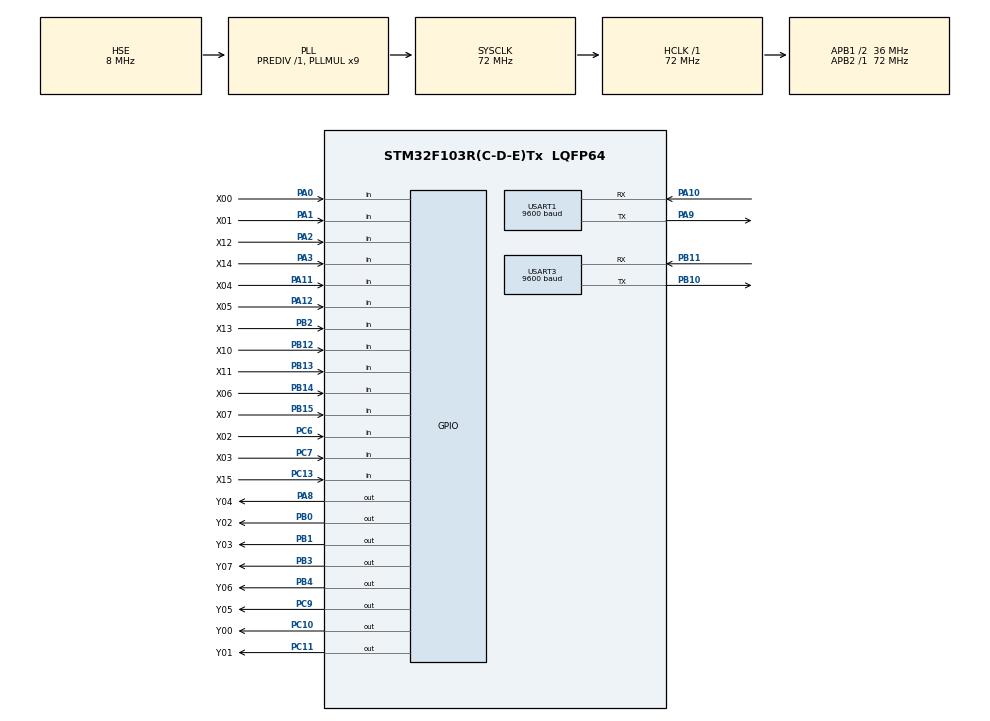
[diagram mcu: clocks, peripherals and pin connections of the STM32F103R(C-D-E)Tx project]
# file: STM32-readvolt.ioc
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FREERTOS.Tasks01=defaultTask,24,64,StartDefaultTask,Default,NULL,Dynamic,NULL,NULL;readvolt,24,64,StartReadVolt,Default,NULL,Dynamic,NULL,NULL;readinput,24,64,StartReadInput,Default,NULL,Dynamic,NULL,NULL
FREERTOS.configMINIMAL_STACK_SIZE=64
FREERTOS.configTIMER_TASK_STACK_DEPTH=64
Mcu.Family=STM32F1
Mcu.Name=STM32F103R(C-D-E)Tx
Mcu.Package=LQFP64
NVIC.PriorityGroup=NVIC_PRIORITYGROUP_4
NVIC.TIM4_IRQn=true\:15\:0\:false\:false\:true\:false\:false\:true\:true
NVIC.TimeBase=TIM4_IRQn
NVIC.TimeBaseIP=TIM4
NVIC.USART1_IRQn=true\:5\:0\:false\:false\:true\:true\:true\:true\:true
NVIC.USART3_IRQn=true\:5\:0\:false\:false\:true\:true\:true\:true\:true
PA0-WKUP.GPIO_Label=X00
PA0-WKUP.Signal=GPIO_Input
PA1.GPIO_Label=X01
PA1.Signal=GPIO_Input
PA10.Mode=Asynchronous
PA10.Signal=USART1_RX
PA11.GPIO_Label=X04
PA11.Signal=GPIO_Input
PA12.GPIO_Label=X05
PA12.Signal=GPIO_Input
PA13.Mode=Serial_Wire
PA13.Signal=SYS_JTMS-SWDIO
PA14.Mode=Serial_Wire
PA14.Signal=SYS_JTCK-SWCLK
PA2.GPIO_Label=X12
PA2.Signal=GPIO_Input
PA3.GPIO_Label=X14
PA3.Signal=GPIO_Input
PA8.GPIO_Label=Y04
PA8.Signal=GPIO_Output
PA9.Mode=Asynchronous
PA9.Signal=USART1_TX
PB0.GPIO_Label=Y02
PB0.Signal=GPIO_Output
PB1.GPIO_Label=Y03
PB1.Signal=GPIO_Output
PB10.Mode=Asynchronous
PB10.Signal=USART3_TX
PB11.Mode=Asynchronous
PB11.Signal=USART3_RX
PB12.GPIO_Label=X10
PB12.Signal=GPIO_Input
PB13.GPIO_Label=X11
PB13.Signal=GPIO_Input
PB14.GPIO_Label=X06
PB14.Signal=GPIO_Input
PB15.GPIO_Label=X07
PB15.Signal=GPIO_Input
PB2.GPIO_Label=X13
PB2.Signal=GPIO_Input
PB3.GPIO_Label=Y07
PB3.Signal=GPIO_Output
PB4.GPIO_Label=Y06
PB4.Signal=GPIO_Output
PC10.GPIO_Label=Y00
PC10.Signal=GPIO_Output
PC11.GPIO_Label=Y01
PC11.Signal=GPIO_Output
PC13-TAMPER-RTC.GPIO_Label=X15
PC13-TAMPER-RTC.Signal=GPIO_Input
PC6.GPIO_Label=X02
PC6.Signal=GPIO_Input
PC7.GPIO_Label=X03
PC7.Signal=GPIO_Input
PC9.GPIO_Label=Y05
PC9.Signal=GPIO_Output
PD0-OSC_IN.Mode=HSE-External-Oscillator
PD0-OSC_IN.Signal=RCC_OSC_IN
PD1-OSC_OUT.Mode=HSE-External-Oscillator
PD1-OSC_OUT.Signal=RCC_OSC_OUT
ProjectManager.HeapSize=0x200
ProjectManager.StackSize=0x400
ProjectManager.TargetToolchain=STM32CubeIDE
RCC.AHBFreq_Value=72000000
RCC.APB1CLKDivider=RCC_HCLK_DIV2
RCC.APB1Freq_Value=36000000
RCC.APB1TimFreq_Value=72000000
RCC.APB2Freq_Value=72000000
RCC.APB2TimFreq_Value=72000000
RCC.HCLKFreq_Value=72000000
RCC.PLLMUL=RCC_PLL_MUL9
RCC.PLLSourceVirtual=RCC_PLLSOURCE_HSE
RCC.SYSCLKFreq_VALUE=72000000
RCC.SYSCLKSource=RCC_SYSCLKSOURCE_PLLCLK
RCC.USBFreq_Value=72000000
USART1.BaudRate=9600
USART1.VirtualMode=VM_ASYNC
USART3.BaudRate=9600
USART3.VirtualMode=VM_ASYNC
VP_FREERTOS_VS_CMSIS_V2.Mode=CMSIS_V2
VP_SYS_VS_tim4.Mode=TIM4
board=custom

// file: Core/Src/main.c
/* USER CODE BEGIN Header */
/**
  ******************************************************************************
  * @file           : main.c
  * @brief          : Main program body
  ******************************************************************************
  * @attention
  *
  * Copyright (c) 2024 STMicroelectronics.
  * All rights reserved.
  *
  * This software is licensed under terms that can be found in the LICENSE file
  * in the root directory of this software component.
  * If no LICENSE file comes with this software, it is provided AS-IS.
  *
  ******************************************************************************
  */
/* USER CODE END Header */
#include "main.h"
#include "cmsis_os.h"

/* USER CODE BEGIN Includes */
#include "Modbus.h"
/* USER CODE END Includes */

/* USER CODE BEGIN PD */
typedef enum{
	autoSwitch,
	manualSwitch
}Switch_status;
typedef enum{
	led_red,
	led_orange,
	led_green
}Led_type;
Led_type status_led=led_green;
typedef enum{
	ProgramRunning,
	ProgramStop

}EMG_status;
EMG_status status=ProgramRunning;
/* USER CODE END PD */

/* USER CODE BEGIN PM */
modbus_t telegram;
/* USER CODE END PM */

UART_HandleTypeDef huart1;
UART_HandleTypeDef huart3;

/* Definitions for defaultTask */
osThreadId_t defaultTaskHandle;
const osThreadAttr_t defaultTask_attributes = {
  .name = "defaultTask",
  .stack_size = 64 * 4,
  .priority = (osPriority_t) osPriorityNormal,
};
/* Definitions for readvolt */
osThreadId_t readvoltHandle;
const osThreadAttr_t readvolt_attributes = {
  .name = "readvolt",
  .stack_size = 64 * 4,
  .priority = (osPriority_t) osPriorityNormal,
};
/* Definitions for readinput */
osThreadId_t readinputHandle;
const osThreadAttr_t readinput_attributes = {
  .name = "readinput",
  .stack_size = 64 * 4,
  .priority = (osPriority_t) osPriorityNormal,
};
/* USER CODE BEGIN PV */
modbusHandler_t ModbusH;
uint16_t ModbusDATA[8];
modbusHandler_t ModbusH2;
uint16_t ModbusDATA2[8];
/* USER CODE END PV */

void SystemClock_Config(void);
static void MX_GPIO_Init(void);
static void MX_USART3_UART_Init(void);
static void MX_USART1_UART_Init(void);
void StartDefaultTask(void *argument);
void StartReadVolt(void *argument);
void StartReadInput(void *argument);

/* USER CODE BEGIN 0 */
void Program_main(Switch_status status)
{
	if(status==autoSwitch)
	{
		if(ModbusH.u16regs[0]<2200){
			HAL_GPIO_WritePin(Y00_GPIO_Port, Y00_Pin, GPIO_PIN_SET);
			status_led=led_orange;
		}
		if(ModbusH.u16regs[0]>2800){
			HAL_GPIO_WritePin(Y00_GPIO_Port, Y00_Pin, GPIO_PIN_RESET);
			status_led=led_green;
		}

	}
	if(status==manualSwitch){
		HAL_GPIO_WritePin(Y00_GPIO_Port, Y00_Pin, GPIO_PIN_SET);
		status_led=led_orange;
	}
}
void Program_Running()
{
//	if(HAL_GPIO_ReadPin(X02_GPIO_Port, X02_Pin)==0)
	if(ModbusH2.u16regs[0]==1)
	{
		Program_main(autoSwitch);
	}
//	if(HAL_GPIO_ReadPin(X03_GPIO_Port, X03_Pin)==0)
	if(ModbusH2.u16regs[1]==1)
	{
		Program_main(manualSwitch);
	}
//	if(HAL_GPIO_ReadPin(X02_GPIO_Port, X02_Pin)==1&&HAL_GPIO_ReadPin(X03_GPIO_Port, X03_Pin)==1)
//	{
//		HAL_GPIO_WritePin(Y00_GPIO_Port, Y00_Pin, GPIO_PIN_RESET);
//	}
}
void Program_Stop()
{
	HAL_GPIO_WritePin(Y00_GPIO_Port, Y00_Pin, GPIO_PIN_RESET);
}
/* USER CODE END 0 */

int main(void)
{

  /* MCU Configuration--------------------------------------------------------*/

  /* Reset of all peripherals, Initializes the Flash interface and the Systick. */
  HAL_Init();

  /* Configure the system clock */
  SystemClock_Config();

  /* Initialize all configured peripherals */
  MX_GPIO_Init();
  MX_USART3_UART_Init();
  MX_USART1_UART_Init();
  /* USER CODE BEGIN 2 */

  /* Master initialization */
  ModbusH.uModbusType = MB_MASTER;
    ModbusH.port =  &huart3;
    ModbusH.u8id = 0; // For master it must be 0
    ModbusH.u16timeOut = 1000;
    ModbusH.EN_Port = NULL;
//    ModbusH.EN_Port = EN_485_GPIO_Port;
//    ModbusH.EN_Pin = EN_485_Pin;
    ModbusH.u16regs = ModbusDATA;
    ModbusH.u16regsize= sizeof(ModbusDATA)/sizeof(ModbusDATA[0]);
    ModbusH.xTypeHW = USART_HW;
    //Initialize Modbus library
    ModbusInit(&ModbusH);
    //Start capturing traffic on serial Port
    ModbusStart(&ModbusH);

    /* Slave initialization */
    ModbusH2.uModbusType = MB_SLAVE;
      ModbusH2.port =  &huart1;
      ModbusH2.u8id = 1;
      ModbusH2.u16timeOut = 1000;
      ModbusH2.EN_Port = NULL;
      //ModbusH2.EN_Port = LD2_GPIO_Port;
      //ModbusH2.EN_Pin = LD2_Pin;
      ModbusH2.u16regs = ModbusDATA2;
      ModbusH2.u16regsize= sizeof(ModbusDATA2)/sizeof(ModbusDATA2[0]);
      //Initialize Modbus library
      ModbusH2.xTypeHW = USART_HW;
      ModbusInit(&ModbusH2);
      //Start capturing traffic on serial Port
      ModbusStart(&ModbusH2);

  /* USER CODE END 2 */

  /* Init scheduler */
  osKernelInitialize();

  /* Create the thread(s) */
  /* creation of defaultTask */
  defaultTaskHandle = osThreadNew(StartDefaultTask, NULL, &defaultTask_attributes);

  /* creation of readvolt */
  readvoltHandle = osThreadNew(StartReadVolt, NULL, &readvolt_attributes);

  /* creation of readinput */
  readinputHandle = osThreadNew(StartReadInput, NULL, &readinput_attributes);

  /* Start scheduler */
  osKernelStart();

  /* We should never get here as control is now taken by the scheduler */

  /* Infinite loop */
  while (1)
  {

  }
}

void SystemClock_Config(void)
{
  RCC_OscInitTypeDef RCC_OscInitStruct = {0};
  RCC_ClkInitTypeDef RCC_ClkInitStruct = {0};

  /** Initializes the RCC Oscillators according to the specified parameters
  * in the RCC_OscInitTypeDef structure.
  */
  RCC_OscInitStruct.OscillatorType = RCC_OSCILLATORTYPE_HSE;
  RCC_OscInitStruct.HSEState = RCC_HSE_ON;
  RCC_OscInitStruct.HSEPredivValue = RCC_HSE_PREDIV_DIV1;
  RCC_OscInitStruct.HSIState = RCC_HSI_ON;
  RCC_OscInitStruct.PLL.PLLState = RCC_PLL_ON;
  RCC_OscInitStruct.PLL.PLLSource = RCC_PLLSOURCE_HSE;
  RCC_OscInitStruct.PLL.PLLMUL = RCC_PLL_MUL9;
  if (HAL_RCC_OscConfig(&RCC_OscInitStruct) != HAL_OK)
  {
    Error_Handler();
  }

  /** Initializes the CPU, AHB and APB buses clocks
  */
  RCC_ClkInitStruct.ClockType = RCC_CLOCKTYPE_HCLK|RCC_CLOCKTYPE_SYSCLK
                              |RCC_CLOCKTYPE_PCLK1|RCC_CLOCKTYPE_PCLK2;
  RCC_ClkInitStruct.SYSCLKSource = RCC_SYSCLKSOURCE_PLLCLK;
  RCC_ClkInitStruct.AHBCLKDivider = RCC_SYSCLK_DIV1;
  RCC_ClkInitStruct.APB1CLKDivider = RCC_HCLK_DIV2;
  RCC_ClkInitStruct.APB2CLKDivider = RCC_HCLK_DIV1;

  if (HAL_RCC_ClockConfig(&RCC_ClkInitStruct, FLASH_LATENCY_2) != HAL_OK)
  {
    Error_Handler();
  }
}

static void MX_USART1_UART_Init(void)
{

  huart1.Instance = USART1;
  huart1.Init.BaudRate = 9600;
  huart1.Init.WordLength = UART_WORDLENGTH_8B;
  huart1.Init.StopBits = UART_STOPBITS_1;
  huart1.Init.Parity = UART_PARITY_NONE;
  huart1.Init.Mode = UART_MODE_TX_RX;
  huart1.Init.HwFlowCtl = UART_HWCONTROL_NONE;
  huart1.Init.OverSampling = UART_OVERSAMPLING_16;
  if (HAL_UART_Init(&huart1) != HAL_OK)
  {
    Error_Handler();
  }

}

static void MX_USART3_UART_Init(void)
{

  huart3.Instance = USART3;
  huart3.Init.BaudRate = 9600;
  huart3.Init.WordLength = UART_WORDLENGTH_8B;
  huart3.Init.StopBits = UART_STOPBITS_1;
  huart3.Init.Parity = UART_PARITY_NONE;
  huart3.Init.Mode = UART_MODE_TX_RX;
  huart3.Init.HwFlowCtl = UART_HWCONTROL_NONE;
  huart3.Init.OverSampling = UART_OVERSAMPLING_16;
  if (HAL_UART_Init(&huart3) != HAL_OK)
  {
    Error_Handler();
  }

}

static void MX_GPIO_Init(void)
{
  GPIO_InitTypeDef GPIO_InitStruct = {0};

  /* GPIO Ports Clock Enable */
  __HAL_RCC_GPIOC_CLK_ENABLE();
  __HAL_RCC_GPIOD_CLK_ENABLE();
  __HAL_RCC_GPIOA_CLK_ENABLE();
  __HAL_RCC_GPIOB_CLK_ENABLE();

  /*Configure GPIO pin Output Level */
  HAL_GPIO_WritePin(GPIOB, Y02_Pin|Y03_Pin|Y07_Pin|Y06_Pin, GPIO_PIN_RESET);

  /*Configure GPIO pin Output Level */
  HAL_GPIO_WritePin(GPIOC, Y05_Pin|Y00_Pin|Y01_Pin, GPIO_PIN_RESET);

  /*Configure GPIO pin Output Level */
  HAL_GPIO_WritePin(Y04_GPIO_Port, Y04_Pin, GPIO_PIN_RESET);

  /*Configure GPIO pins : X15_Pin X02_Pin X03_Pin */
  GPIO_InitStruct.Pin = X15_Pin|X02_Pin|X03_Pin;
  GPIO_InitStruct.Mode = GPIO_MODE_INPUT;
  GPIO_InitStruct.Pull = GPIO_NOPULL;
  HAL_GPIO_Init(GPIOC, &GPIO_InitStruct);

  /*Configure GPIO pins : X00_Pin X01_Pin X12_Pin X14_Pin
                           X04_Pin X05_Pin */
  GPIO_InitStruct.Pin = X00_Pin|X01_Pin|X12_Pin|X14_Pin
                          |X04_Pin|X05_Pin;
  GPIO_InitStruct.Mode = GPIO_MODE_INPUT;
  GPIO_InitStruct.Pull = GPIO_NOPULL;
  HAL_GPIO_Init(GPIOA, &GPIO_InitStruct);

  /*Configure GPIO pins : Y02_Pin Y03_Pin Y07_Pin Y06_Pin */
  GPIO_InitStruct.Pin = Y02_Pin|Y03_Pin|Y07_Pin|Y06_Pin;
  GPIO_InitStruct.Mode = GPIO_MODE_OUTPUT_PP;
  GPIO_InitStruct.Pull = GPIO_NOPULL;
  GPIO_InitStruct.Speed = GPIO_SPEED_FREQ_LOW;
  HAL_GPIO_Init(GPIOB, &GPIO_InitStruct);

  /*Configure GPIO pins : X13_Pin X10_Pin X11_Pin X06_Pin
                           X07_Pin */
  GPIO_InitStruct.Pin = X13_Pin|X10_Pin|X11_Pin|X06_Pin
                          |X07_Pin;
  GPIO_InitStruct.Mode = GPIO_MODE_INPUT;
  GPIO_InitStruct.Pull = GPIO_NOPULL;
  HAL_GPIO_Init(GPIOB, &GPIO_InitStruct);

  /*Configure GPIO pins : Y05_Pin Y00_Pin Y01_Pin */
  GPIO_InitStruct.Pin = Y05_Pin|Y00_Pin|Y01_Pin;
  GPIO_InitStruct.Mode = GPIO_MODE_OUTPUT_PP;
  GPIO_InitStruct.Pull = GPIO_NOPULL;
  GPIO_InitStruct.Speed = GPIO_SPEED_FREQ_LOW;
  HAL_GPIO_Init(GPIOC, &GPIO_InitStruct);

  /*Configure GPIO pin : Y04_Pin */
  GPIO_InitStruct.Pin = Y04_Pin;
  GPIO_InitStruct.Mode = GPIO_MODE_OUTPUT_PP;
  GPIO_InitStruct.Pull = GPIO_NOPULL;
  GPIO_InitStruct.Speed = GPIO_SPEED_FREQ_LOW;
  HAL_GPIO_Init(Y04_GPIO_Port, &GPIO_InitStruct);

}

void StartDefaultTask(void *argument)
{
  /* USER CODE BEGIN 5 */
  /* Infinite loop */
  for(;;)
  {

	  if(status==ProgramRunning){
			  Program_Running();
	  }
	  else{
		  Program_Stop();
		  status_led=led_red;
	  }
    osDelay(100);
  }
  /* USER CODE END 5 */
}

void StartReadVolt(void *argument)
{
  /* USER CODE BEGIN StartReadVolt */
  /* Infinite loop */
  for(;;)
  {
	  uint32_t u32NotificationValue;
	  	    telegram.u8id = 1; // slave address
	  	    telegram.u8fct = 4; // function code (this one is registers read)
	  	    //telegram[0].u16RegAdd = 0x160; // start address in slave
	  	    telegram.u16RegAdd = 0x0; // start address in slave
	  	    telegram.u16CoilsNo = 8; // number of elements (coils or registers) to read
	  	    telegram.u16reg = ModbusDATA; // pointer to a memory array in the Arduino

	  	    int aux;

	  	    for(;;)
	  	    {
	  	  	  ModbusQuery(&ModbusH, telegram); // make a query
	  	  	  u32NotificationValue = ulTaskNotifyTake(pdTRUE, portMAX_DELAY); // block until query finishes
	  	  	  if(u32NotificationValue != ERR_OK_QUERY)
	  	  	  {
	  	  		//handle error
	  	  		//  while(1);
	  	  		  aux =1;
	  	  	  }
	  	  	  uint16_t Volt_battery  = ModbusH.u16regs[0];
	  	  	  uint16_t Current_battery = ModbusH.u16regs[1];
	  	  	  ModbusH2.u16regs[3]=Volt_battery;

	  	    }
    osDelay(100);
  }
  /* USER CODE END StartReadVolt */
}

void StartReadInput(void *argument)
{
  /* USER CODE BEGIN StartReadInput */
  /* Infinite loop */
  for(;;)
  {
//	  if(HAL_GPIO_ReadPin(X00_GPIO_Port, X00_Pin)==0)
	  if(ModbusH2.u16regs[2]==1)
	  {
		  if(status==ProgramRunning)
		  {
			  status=ProgramStop;
		  }

	  }
	  if(HAL_GPIO_ReadPin(X00_GPIO_Port, X00_Pin)==1&&HAL_GPIO_ReadPin(X01_GPIO_Port, X01_Pin)==0)
	  {
		  if(status==ProgramStop)
		  {
			  status=ProgramRunning;

		  }
	  }
	  switch (status_led) {
		case led_green:
			HAL_GPIO_WritePin(Y02_GPIO_Port, Y02_Pin, GPIO_PIN_SET);
			HAL_GPIO_WritePin(Y03_GPIO_Port, Y03_Pin, GPIO_PIN_RESET);
			HAL_GPIO_WritePin(Y04_GPIO_Port, Y04_Pin, GPIO_PIN_RESET);
			break;
		case led_orange:
			HAL_GPIO_WritePin(Y02_GPIO_Port, Y02_Pin, GPIO_PIN_RESET);
			HAL_GPIO_WritePin(Y03_GPIO_Port, Y03_Pin, GPIO_PIN_SET);
			HAL_GPIO_WritePin(Y04_GPIO_Port, Y04_Pin, GPIO_PIN_RESET);
			break;
		case led_red:
			HAL_GPIO_WritePin(Y02_GPIO_Port, Y02_Pin, GPIO_PIN_RESET);
			HAL_GPIO_WritePin(Y03_GPIO_Port, Y03_Pin, GPIO_PIN_RESET);
			HAL_GPIO_WritePin(Y04_GPIO_Port, Y04_Pin, GPIO_PIN_SET);
			break;
		default:
			break;
	}
    osDelay(100);
  }
  /* USER CODE END StartReadInput */
}

void HAL_TIM_PeriodElapsedCallback(TIM_HandleTypeDef *htim)
{
  if (htim->Instance == TIM4) {
    HAL_IncTick();
  }
}

void Error_Handler(void)
{
  __disable_irq();
  while (1)
  {
  }
}
